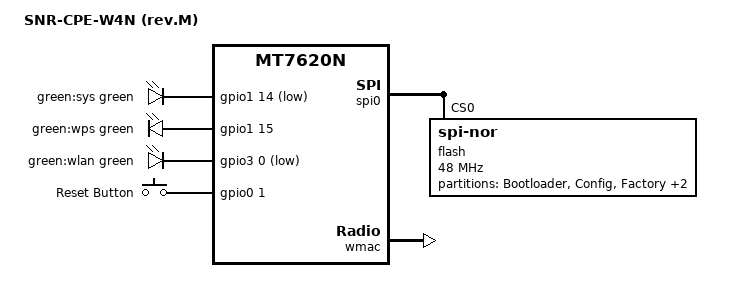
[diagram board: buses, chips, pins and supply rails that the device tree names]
// SPDX-License-Identifier: GPL-2.0-or-later OR MIT

#include "mt7620n.dtsi"

#include <dt-bindings/gpio/gpio.h>
#include <dt-bindings/input/input.h>
#include <dt-bindings/leds/common.h>

/ {
	compatible = "snr,cpe-w4n-mt", "ralink,mt7620n-soc";
	model = "SNR-CPE-W4N (rev.M)";

	aliases {
		led-boot = &led_wps;
		led-failsafe = &led_sys;
		led-running = &led_wps;
		led-upgrade = &led_sys;
	};

	leds {
		compatible = "gpio-leds";

		led_sys: sys {
			label = "green:sys";
			color = <LED_COLOR_ID_GREEN>;
			function = LED_FUNCTION_STATUS;
			gpios = <&gpio1 14 GPIO_ACTIVE_LOW>; // GPIO#38
			panic-indicator;
		};

		led_wps: wps {
			label = "green:wps";
			color = <LED_COLOR_ID_GREEN>;
			function = LED_FUNCTION_WPS;
			gpios = <&gpio1 15 GPIO_ACTIVE_HIGH>; // GPIO#39
		};

		wlan {
			label = "green:wlan";
			color = <LED_COLOR_ID_GREEN>;
			function = LED_FUNCTION_WLAN;
			gpios = <&gpio3 0 GPIO_ACTIVE_LOW>; // GPIO#72
		};
	};

	keys {
		compatible = "gpio-keys";

		reset {
			label = "Reset Button";
			gpios = <&gpio0 1 GPIO_ACTIVE_HIGH>; // GPIO#1
			linux,code = <KEY_RESTART>;
		};
	};
};

&gpio0 {
	status = "okay";
};

&gpio1 {
	status = "okay";
};

&gpio3 {
	status = "okay";
};

&spi0 {
	status = "okay";

	flash@0 {
		compatible = "jedec,spi-nor";
		reg = <0>;
		spi-max-frequency = <48000000>;

		partitions {
			compatible = "fixed-partitions";
			#address-cells = <1>;
			#size-cells = <1>;

			partition@0 {
				label = "Bootloader";
				reg = <0x0 0x30000>;
				read-only;
			};

			partition@30000 {
				label = "Config";
				reg = <0x30000 0x10000>;
			};

			factory: partition@40000 {
				label = "Factory";
				reg = <0x40000 0x100000>;
				read-only;
			};

			partition@50000 {
				compatible = "denx,uimage";
				label = "firmware";
				reg = <0x50000 0x7b0000>;
			};

			partition@30000_1 {
				label = "uboot-env";
				reg = <0x30000 0x1000>;
			};
		};
	};
};

&state_default {
	gpio {
		groups = "i2c", "spi refclk";
		function = "gpio";
	};
};

&wmac {
	ralink,mtd-eeprom = <&factory 0x0>;
};
